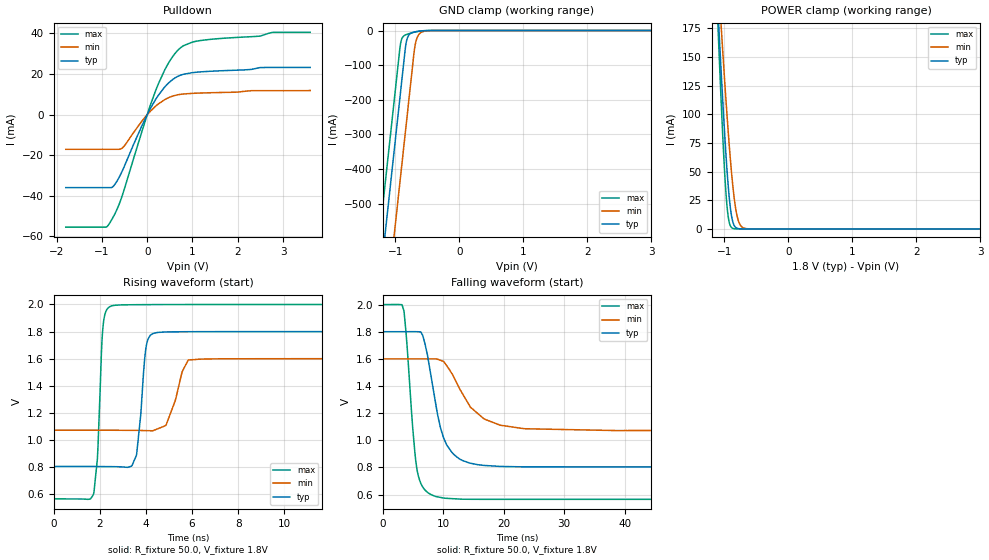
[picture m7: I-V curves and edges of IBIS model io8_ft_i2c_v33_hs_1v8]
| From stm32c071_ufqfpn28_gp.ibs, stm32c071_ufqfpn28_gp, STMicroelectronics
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[Model]   io8_ft_i2c_v33_hs_1v8
Model_type I/O_open_drain
Polarity   Non-Inverting
Enable   Active-Low
| CAP_THRESHOLD on pad IOFT is "UDTCAPC" :
| Rising=30.0% of vddiom   Falling=70.0% of vddiom
| C_comp min and max val. don't necessarily correlate with the min and max pvt
| but are the smallest and greatest pad capacitance found.
| var   typ   min   max
C_comp   2.20140pF  2.17990pF  2.25295pF
|C_comp_pulldown   2.20140pF  2.17990pF  2.25295pF
Vinl = 800.0mV
Vinh = 1.0V
Vmeas = 900.0mV   | Reference voltage for timing measurements
Cref  = 50.0pF   | Timing specification test load capacitance value
Rref  = 1.0MOhm   | Timing specification test load resistance value
Vref  = 990.0mV   | Timing specification test load voltage
[Model Spec]
| TIME_THRESHOLD on pin ZII2CV12 is "CMOS" :
| Rising=50.0% of vdd   Falling=50.0% of vdd
Vinl 728.70000mV 652.70000mV 817.70000mV
Vinh 1.06430V 953.30000mV 1.16330V
| variable   typ   min   max
[Temperature Range] 25.0 125.0 -40.0
| variable   typ   min   max
[Voltage Range] 1.8V 1.6V 2.0V
| variable   typ   min   max
[POWER Clamp Reference] 1.8V 1.6V 2.0V
| variable   typ   min   max
[GND Clamp Reference] 0V 0V 0V
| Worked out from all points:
|   slope of the pulldown table from 0 to 0.27 V, typ, clamps not added: 26.4 ohm
|   GND clamp passes 1 mA (typ) near -0.58 V on its own axis
|   POWER clamp passes 1 mA (typ) near -0.81 V on its own axis
|   rising waveform, R_fixture 50.0, V_fixture 1.8V: 20-80 % time 283ps typ, 534ps min, 199ps max; typ from 0.804 V to 1.8 V
|   falling waveform, R_fixture 50.0, V_fixture 1.8V: 20-80 % time 2.71ns typ, 4.82ns min, 1.46ns max; typ from 1.8 V to 0.804 V
[POWER Clamp]
-1.8V     1.053A     933.5mA    1.262A
-1.1V     191.1mA    222.7mA    177.1mA
-1.08V    169mA      204.2mA    149.9mA
-1.05V    136.9mA    176.9mA    110.9mA
-1.01V    96.55mA    141.6mA    64.02mA
-980mV    68.91mA    116.4mA    35.23mA
-940mV    37.57mA    84.83mA    10.65mA
-880mV    8.969mA    44.34mA    807.4uA
-830mV    1.697mA    20.19mA    75.79uA
-790mV    394.2uA    8.787mA    11.25uA
-670mV    4.467uA    374.2uA    36.56nA
3.6V      0A         0A         0A
[GND Clamp]
-1.8V     -1.676A    -1.92A     -1.532A
-1.24V    -723.6mA   -967.7mA   -579.5mA
-1.05V    -400.6mA   -644.7mA   -256.5mA
-920mV    -179.6mA   -423.7mA   -38.92mA
-890mV    -128.6mA   -372.7mA   -20.43mA
-850mV    -60.6mA    -304.7mA   -13.42mA
-830mV    -34.09mA   -270.7mA   -11.74mA
-800mV    -16.49mA   -219.7mA   -9.781mA
-690mV    -3.754mA   -41.06mA   -4.242mA
-640mV    -2.187mA   -13.34mA   -2.404mA
-570mV    -808.6uA   -3.187mA   -757.3uA
3.6V      509.6pA    49.06nA    363.2pA
| variable   typ   min   max
[Pullup Reference] 1.8V 1.6V 2.0V
| variable   typ   min   max
[Pulldown Reference] 0V 0V 0V
[Pulldown]
-1.8V     -35.95mA   -17.07mA   -55.42mA
-910mV    -35.95mA   -17.07mA   -55.42mA
-830mV    -35.95mA   -17.07mA   -53.42mA
-720mV    -34.49mA   -17.07mA   -49.08mA
-540mV    -27.18mA   -16.22mA   -39.07mA
-120mV    -5.598mA   -3.255mA   -8.496mA
240mV     9.353mA    5.171mA    14.85mA
490mV     15.96mA    8.523mA    26.14mA
750mV     19.54mA    10.04mA    33.17mA
1.37V     21.33mA    10.77mA    37.03mA
2.78V     23.24mA    11.8mA     40.53mA
3.6V      23.24mA    11.89mA    40.54mA
[Ramp]
dV/dt_r 597.43076mV/282.82156ps 316.6404mV/532.18782ps 860.74556mV/198.41769ps
dV/dt_f 597.48988mV/2.70584ns 316.31324mV/4.81641ns 860.78194mV/1.45773ns
R_load = 50.0
| Removed startup time: 0s 0s 0s  .
| Removed end time: 19.875ns.
[Rising Waveform]
R_fixture   = 50.0
V_fixture   = 1.8V
V_fixture_min = 1.6V
V_fixture_max = 2.0V
0s        804.2mV    1.072V     565.4mV
1.725ns   804.2mV    1.072V     595.7mV
1.9ns     804mV      1.072V     859.8mV
2.15ns    803.5mV    1.072V     1.847V
2.475ns   803.1mV    1.072V     1.987V
3.575ns   879.8mV    1.071V     1.998V
4ns       1.675V     1.069V     1.999V
4.325ns   1.787V     1.07V      1.999V
5.85ns    1.799V     1.591V     2V
19.88ns   1.8V       1.6V       2V
| Removed startup time: 0s 0s 0s  .
| Removed end time: 199.875ns.
[Falling Waveform]
R_fixture   = 50.0
V_fixture   = 1.8V
V_fixture_min = 1.6V
V_fixture_max = 2.0V
0s        1.8V       1.6V       2V
3.525ns   1.8V       1.6V       1.955V
5.325ns   1.8V       1.6V       917.3mV
6.325ns   1.798V     1.6V       682.5mV
7.05ns    1.703V     1.6V       631.9mV
10.25ns   1.001V     1.571V     573.6mV
12.7ns    862.6mV    1.383V     567.2mV
16.77ns   815mV      1.157V     565.4mV
23.43ns   804.9mV    1.085V     565.4mV
199.9ns   804.2mV    1.073V     565.4mV
